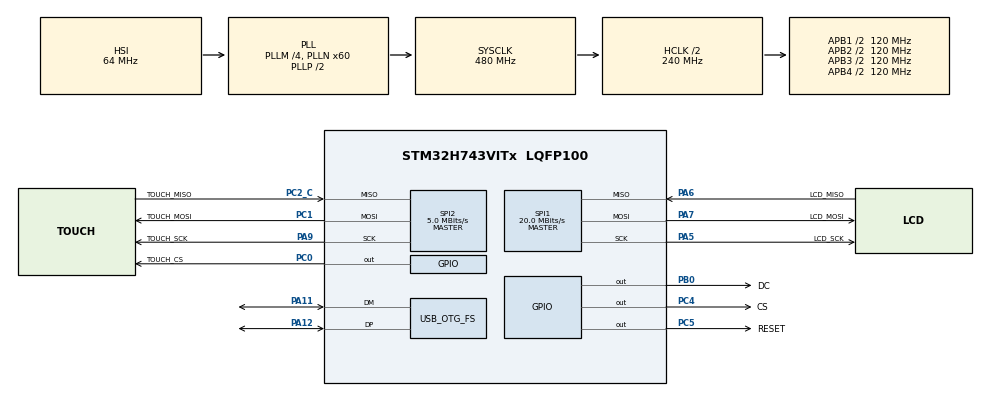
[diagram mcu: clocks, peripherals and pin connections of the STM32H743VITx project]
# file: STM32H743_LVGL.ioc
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CORTEX_M7.default_mode_Activation=1
Dma.Request0=SPI1_TX
Dma.SPI1_TX.0.Direction=DMA_MEMORY_TO_PERIPH
Dma.SPI1_TX.0.EventEnable=DISABLE
Dma.SPI1_TX.0.FIFOMode=DMA_FIFOMODE_DISABLE
Dma.SPI1_TX.0.Instance=DMA1_Stream2
Dma.SPI1_TX.0.MemDataAlignment=DMA_MDATAALIGN_BYTE
Dma.SPI1_TX.0.MemInc=DMA_MINC_ENABLE
Dma.SPI1_TX.0.Mode=DMA_NORMAL
Dma.SPI1_TX.0.PeriphDataAlignment=DMA_PDATAALIGN_BYTE
Dma.SPI1_TX.0.PeriphInc=DMA_PINC_DISABLE
Dma.SPI1_TX.0.Polarity=HAL_DMAMUX_REQ_GEN_RISING
Dma.SPI1_TX.0.Priority=DMA_PRIORITY_LOW
Dma.SPI1_TX.0.RequestNumber=1
Dma.SPI1_TX.0.SignalID=NONE
Dma.SPI1_TX.0.SyncEnable=DISABLE
Dma.SPI1_TX.0.SyncPolarity=HAL_DMAMUX_SYNC_NO_EVENT
Dma.SPI1_TX.0.SyncRequestNumber=1
Dma.SPI1_TX.0.SyncSignalID=NONE
Mcu.Family=STM32H7
Mcu.Name=STM32H743VITx
Mcu.Package=LQFP100
NVIC.DMA1_Stream2_IRQn=true\:0\:0\:false\:false\:true\:false\:true\:true
NVIC.OTG_FS_IRQn=true\:0\:0\:false\:false\:true\:false\:true\:true
NVIC.PriorityGroup=NVIC_PRIORITYGROUP_4
NVIC.SPI1_IRQn=true\:0\:0\:false\:false\:true\:false\:true\:true
PA11.Mode=Device_Only
PA11.Signal=USB_OTG_FS_DM
PA12.Mode=Device_Only
PA12.Signal=USB_OTG_FS_DP
PA5.GPIO_Label=LCD_SCK
PA5.Mode=Full_Duplex_Master
PA5.Signal=SPI1_SCK
PA6.GPIO_Label=LCD_MISO
PA6.Mode=Full_Duplex_Master
PA6.Signal=SPI1_MISO
PA7.GPIO_Label=LCD_MOSI
PA7.Mode=Full_Duplex_Master
PA7.Signal=SPI1_MOSI
PA9.GPIO_Label=TOUCH_SCK
PA9.Mode=Full_Duplex_Master
PA9.Signal=SPI2_SCK
PB0.GPIO_Label=DC
PB0.Signal=GPIO_Output
PC0.GPIO_Label=TOUCH_CS
PC0.Signal=GPIO_Output
PC1.GPIO_Label=TOUCH_MOSI
PC1.Mode=Full_Duplex_Master
PC1.Signal=SPI2_MOSI
PC2_C.GPIO_Label=TOUCH_MISO
PC2_C.Mode=Full_Duplex_Master
PC2_C.Signal=SPI2_MISO
PC4.GPIO_Label=CS
PC4.Signal=GPIO_Output
PC5.GPIO_Label=RESET
PC5.Signal=GPIO_Output
PH0-OSC_IN\ (PH0).Mode=HSE-External-Oscillator
PH0-OSC_IN\ (PH0).Signal=RCC_OSC_IN
PH1-OSC_OUT\ (PH1).Mode=HSE-External-Oscillator
PH1-OSC_OUT\ (PH1).Signal=RCC_OSC_OUT
ProjectManager.HeapSize=0x200
ProjectManager.StackSize=0x400
ProjectManager.TargetToolchain=STM32CubeIDE
RCC.ADCCLockSelection=RCC_ADCCLKSOURCE_CLKP
RCC.ADCFreq_Value=64000000
RCC.APB1Freq_Value=120000000
RCC.APB2Freq_Value=120000000
RCC.APB3Freq_Value=120000000
RCC.APB4Freq_Value=120000000
RCC.CortexFreq_Value=480000000
RCC.D1PPRE=RCC_APB3_DIV2
RCC.D2PPRE1=RCC_APB1_DIV2
RCC.D2PPRE2=RCC_APB2_DIV2
RCC.D3PPRE=RCC_APB4_DIV2
RCC.DIVM1=4
RCC.DIVM2=4
RCC.DIVN1=60
RCC.DIVN2=10
RCC.DIVP2=1
RCC.HCLKFreq_Value=240000000
RCC.HPRE=RCC_HCLK_DIV2
RCC.PLL2FRACN=0
RCC.PLL3FRACN=0
RCC.PLLFRACN=0
RCC.SPI123CLockSelection=RCC_SPI123CLKSOURCE_PLL2
RCC.SYSCLKFreq_VALUE=480000000
RCC.SYSCLKSource=RCC_SYSCLKSOURCE_PLLCLK
RCC.USBCLockSelection=RCC_USBCLKSOURCE_HSI48
RCC.USBFreq_Value=48000000
SPI1.BaudRatePrescaler=SPI_BAUDRATEPRESCALER_8
SPI1.CalculateBaudRate=20.0 MBits/s
SPI1.DataSize=SPI_DATASIZE_8BIT
SPI1.Direction=SPI_DIRECTION_2LINES
SPI1.Mode=SPI_MODE_MASTER
SPI1.VirtualType=VM_MASTER
SPI2.BaudRatePrescaler=SPI_BAUDRATEPRESCALER_32
SPI2.CalculateBaudRate=5.0 MBits/s
SPI2.DataSize=SPI_DATASIZE_8BIT
SPI2.Direction=SPI_DIRECTION_2LINES
SPI2.Mode=SPI_MODE_MASTER
SPI2.VirtualType=VM_MASTER
USB_DEVICE.CLASS_NAME_FS=CDC
USB_DEVICE.VirtualMode-CDC_FS=Cdc
USB_DEVICE.VirtualModeFS=Cdc_FS
USB_OTG_FS.VirtualMode=Device_Only
VP_MEMORYMAP_VS_MEMORYMAP.Mode=CurAppReg
VP_USB_DEVICE_VS_USB_DEVICE_CDC_FS.Mode=CDC_FS
board=custom

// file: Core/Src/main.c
/* USER CODE BEGIN Header */
/**
  ******************************************************************************
  * @file           : main.c
  * @brief          : Main program body
  ******************************************************************************
  * @attention
  *
  * Copyright (c) 2024 STMicroelectronics.
  * All rights reserved.
  *
  * This software is licensed under terms that can be found in the LICENSE file
  * in the root directory of this software component.
  * If no LICENSE file comes with this software, it is provided AS-IS.
  *
  ******************************************************************************
  */
/* USER CODE END Header */
#include "main.h"
#include "usb_device.h"

/* USER CODE BEGIN Includes */
#include "lvgl.h"
#include "LCDController.h"
#include "string.h"
#include "ui.h"
/* USER CODE END Includes */

SPI_HandleTypeDef hspi1;
SPI_HandleTypeDef hspi2;
DMA_HandleTypeDef hdma_spi1_tx;

void SystemClock_Config(void);
void PeriphCommonClock_Config(void);
static void MPU_Config(void);
static void MX_GPIO_Init(void);
static void MX_DMA_Init(void);
static void MX_SPI1_Init(void);
static void MX_SPI2_Init(void);
/* USER CODE BEGIN PFP */
uint8_t Raw_VCP_Data[64];
uint8_t Vcp_Data_Available;
char Elek[]="000V/00A";
char Power[]="0000W";
char Temp[]="00C";
uint16_t Data_recv[4];
/* USER CODE END PFP */

int main(void)
{

  /* MPU Configuration--------------------------------------------------------*/
  MPU_Config();

  /* MCU Configuration--------------------------------------------------------*/

  /* Reset of all peripherals, Initializes the Flash interface and the Systick. */
  HAL_Init();

  /* Configure the system clock */
  SystemClock_Config();

  /* Configure the peripherals common clocks */
  PeriphCommonClock_Config();

  /* Initialize all configured peripherals */
  MX_GPIO_Init();
  MX_DMA_Init();
  MX_SPI1_Init();
  MX_SPI2_Init();
  MX_USB_DEVICE_Init();
  /* USER CODE BEGIN 2 */
  lv_init(); //Initialise LVGL UI library
  lv_port_disp_init();  // intializse the display drivers
  lv_port_indev_init();
  ui_init();
  CDC_Transmit_FS("UART_STARTED", strlen("UART_STARTED"));
  /* USER CODE END 2 */

  /* Infinite loop */
  while (1)
  {

    /* USER CODE BEGIN 3 */
	  lv_timer_handler();
	  HAL_Delay(5);
  }
  /* USER CODE END 3 */
}

void SystemClock_Config(void)
{
  RCC_OscInitTypeDef RCC_OscInitStruct = {0};
  RCC_ClkInitTypeDef RCC_ClkInitStruct = {0};

  /** Supply configuration update enable
  */
  HAL_PWREx_ConfigSupply(PWR_LDO_SUPPLY);

  /** Configure the main internal regulator output voltage
  */
  __HAL_PWR_VOLTAGESCALING_CONFIG(PWR_REGULATOR_VOLTAGE_SCALE1);

  while(!__HAL_PWR_GET_FLAG(PWR_FLAG_VOSRDY)) {}

  __HAL_RCC_SYSCFG_CLK_ENABLE();
  __HAL_PWR_VOLTAGESCALING_CONFIG(PWR_REGULATOR_VOLTAGE_SCALE0);

  while(!__HAL_PWR_GET_FLAG(PWR_FLAG_VOSRDY)) {}

  /** Initializes the RCC Oscillators according to the specified parameters
  * in the RCC_OscInitTypeDef structure.
  */
  RCC_OscInitStruct.OscillatorType = RCC_OSCILLATORTYPE_HSI48|RCC_OSCILLATORTYPE_HSI;
  RCC_OscInitStruct.HSIState = RCC_HSI_DIV1;
  RCC_OscInitStruct.HSICalibrationValue = RCC_HSICALIBRATION_DEFAULT;
  RCC_OscInitStruct.HSI48State = RCC_HSI48_ON;
  RCC_OscInitStruct.PLL.PLLState = RCC_PLL_ON;
  RCC_OscInitStruct.PLL.PLLSource = RCC_PLLSOURCE_HSI;
  RCC_OscInitStruct.PLL.PLLM = 4;
  RCC_OscInitStruct.PLL.PLLN = 60;
  RCC_OscInitStruct.PLL.PLLP = 2;
  RCC_OscInitStruct.PLL.PLLQ = 2;
  RCC_OscInitStruct.PLL.PLLR = 2;
  RCC_OscInitStruct.PLL.PLLRGE = RCC_PLL1VCIRANGE_3;
  RCC_OscInitStruct.PLL.PLLVCOSEL = RCC_PLL1VCOWIDE;
  RCC_OscInitStruct.PLL.PLLFRACN = 0;
  if (HAL_RCC_OscConfig(&RCC_OscInitStruct) != HAL_OK)
  {
    Error_Handler();
  }

  /** Initializes the CPU, AHB and APB buses clocks
  */
  RCC_ClkInitStruct.ClockType = RCC_CLOCKTYPE_HCLK|RCC_CLOCKTYPE_SYSCLK
                              |RCC_CLOCKTYPE_PCLK1|RCC_CLOCKTYPE_PCLK2
                              |RCC_CLOCKTYPE_D3PCLK1|RCC_CLOCKTYPE_D1PCLK1;
  RCC_ClkInitStruct.SYSCLKSource = RCC_SYSCLKSOURCE_PLLCLK;
  RCC_ClkInitStruct.SYSCLKDivider = RCC_SYSCLK_DIV1;
  RCC_ClkInitStruct.AHBCLKDivider = RCC_HCLK_DIV2;
  RCC_ClkInitStruct.APB3CLKDivider = RCC_APB3_DIV2;
  RCC_ClkInitStruct.APB1CLKDivider = RCC_APB1_DIV2;
  RCC_ClkInitStruct.APB2CLKDivider = RCC_APB2_DIV2;
  RCC_ClkInitStruct.APB4CLKDivider = RCC_APB4_DIV2;

  if (HAL_RCC_ClockConfig(&RCC_ClkInitStruct, FLASH_LATENCY_4) != HAL_OK)
  {
    Error_Handler();
  }
}

void PeriphCommonClock_Config(void)
{
  RCC_PeriphCLKInitTypeDef PeriphClkInitStruct = {0};

  /** Initializes the peripherals clock
  */
  PeriphClkInitStruct.PeriphClockSelection = RCC_PERIPHCLK_SPI2|RCC_PERIPHCLK_SPI1;
  PeriphClkInitStruct.PLL2.PLL2M = 4;
  PeriphClkInitStruct.PLL2.PLL2N = 10;
  PeriphClkInitStruct.PLL2.PLL2P = 1;
  PeriphClkInitStruct.PLL2.PLL2Q = 2;
  PeriphClkInitStruct.PLL2.PLL2R = 2;
  PeriphClkInitStruct.PLL2.PLL2RGE = RCC_PLL2VCIRANGE_3;
  PeriphClkInitStruct.PLL2.PLL2VCOSEL = RCC_PLL2VCOMEDIUM;
  PeriphClkInitStruct.PLL2.PLL2FRACN = 0;
  PeriphClkInitStruct.Spi123ClockSelection = RCC_SPI123CLKSOURCE_PLL2;
  if (HAL_RCCEx_PeriphCLKConfig(&PeriphClkInitStruct) != HAL_OK)
  {
    Error_Handler();
  }
}

static void MX_SPI1_Init(void)
{

  /* SPI1 parameter configuration*/
  hspi1.Instance = SPI1;
  hspi1.Init.Mode = SPI_MODE_MASTER;
  hspi1.Init.Direction = SPI_DIRECTION_2LINES;
  hspi1.Init.DataSize = SPI_DATASIZE_8BIT;
  hspi1.Init.CLKPolarity = SPI_POLARITY_LOW;
  hspi1.Init.CLKPhase = SPI_PHASE_1EDGE;
  hspi1.Init.NSS = SPI_NSS_SOFT;
  hspi1.Init.BaudRatePrescaler = SPI_BAUDRATEPRESCALER_8;
  hspi1.Init.FirstBit = SPI_FIRSTBIT_MSB;
  hspi1.Init.TIMode = SPI_TIMODE_DISABLE;
  hspi1.Init.CRCCalculation = SPI_CRCCALCULATION_DISABLE;
  hspi1.Init.CRCPolynomial = 0x0;
  hspi1.Init.NSSPMode = SPI_NSS_PULSE_ENABLE;
  hspi1.Init.NSSPolarity = SPI_NSS_POLARITY_LOW;
  hspi1.Init.FifoThreshold = SPI_FIFO_THRESHOLD_01DATA;
  hspi1.Init.TxCRCInitializationPattern = SPI_CRC_INITIALIZATION_ALL_ZERO_PATTERN;
  hspi1.Init.RxCRCInitializationPattern = SPI_CRC_INITIALIZATION_ALL_ZERO_PATTERN;
  hspi1.Init.MasterSSIdleness = SPI_MASTER_SS_IDLENESS_00CYCLE;
  hspi1.Init.MasterInterDataIdleness = SPI_MASTER_INTERDATA_IDLENESS_00CYCLE;
  hspi1.Init.MasterReceiverAutoSusp = SPI_MASTER_RX_AUTOSUSP_DISABLE;
  hspi1.Init.MasterKeepIOState = SPI_MASTER_KEEP_IO_STATE_DISABLE;
  hspi1.Init.IOSwap = SPI_IO_SWAP_DISABLE;
  if (HAL_SPI_Init(&hspi1) != HAL_OK)
  {
    Error_Handler();
  }

}

static void MX_SPI2_Init(void)
{

  /* SPI2 parameter configuration*/
  hspi2.Instance = SPI2;
  hspi2.Init.Mode = SPI_MODE_MASTER;
  hspi2.Init.Direction = SPI_DIRECTION_2LINES;
  hspi2.Init.DataSize = SPI_DATASIZE_8BIT;
  hspi2.Init.CLKPolarity = SPI_POLARITY_LOW;
  hspi2.Init.CLKPhase = SPI_PHASE_1EDGE;
  hspi2.Init.NSS = SPI_NSS_SOFT;
  hspi2.Init.BaudRatePrescaler = SPI_BAUDRATEPRESCALER_32;
  hspi2.Init.FirstBit = SPI_FIRSTBIT_MSB;
  hspi2.Init.TIMode = SPI_TIMODE_DISABLE;
  hspi2.Init.CRCCalculation = SPI_CRCCALCULATION_DISABLE;
  hspi2.Init.CRCPolynomial = 0x0;
  hspi2.Init.NSSPMode = SPI_NSS_PULSE_ENABLE;
  hspi2.Init.NSSPolarity = SPI_NSS_POLARITY_LOW;
  hspi2.Init.FifoThreshold = SPI_FIFO_THRESHOLD_01DATA;
  hspi2.Init.TxCRCInitializationPattern = SPI_CRC_INITIALIZATION_ALL_ZERO_PATTERN;
  hspi2.Init.RxCRCInitializationPattern = SPI_CRC_INITIALIZATION_ALL_ZERO_PATTERN;
  hspi2.Init.MasterSSIdleness = SPI_MASTER_SS_IDLENESS_00CYCLE;
  hspi2.Init.MasterInterDataIdleness = SPI_MASTER_INTERDATA_IDLENESS_00CYCLE;
  hspi2.Init.MasterReceiverAutoSusp = SPI_MASTER_RX_AUTOSUSP_DISABLE;
  hspi2.Init.MasterKeepIOState = SPI_MASTER_KEEP_IO_STATE_DISABLE;
  hspi2.Init.IOSwap = SPI_IO_SWAP_DISABLE;
  if (HAL_SPI_Init(&hspi2) != HAL_OK)
  {
    Error_Handler();
  }

}

static void MX_DMA_Init(void)
{

  /* DMA controller clock enable */
  __HAL_RCC_DMA1_CLK_ENABLE();

  /* DMA interrupt init */
  /* DMA1_Stream2_IRQn interrupt configuration */
  HAL_NVIC_SetPriority(DMA1_Stream2_IRQn, 0, 0);
  HAL_NVIC_EnableIRQ(DMA1_Stream2_IRQn);

}

static void MX_GPIO_Init(void)
{
  GPIO_InitTypeDef GPIO_InitStruct = {0};

  /* GPIO Ports Clock Enable */
  __HAL_RCC_GPIOH_CLK_ENABLE();
  __HAL_RCC_GPIOC_CLK_ENABLE();
  __HAL_RCC_GPIOA_CLK_ENABLE();
  __HAL_RCC_GPIOB_CLK_ENABLE();

  /*Configure GPIO pin Output Level */
  HAL_GPIO_WritePin(GPIOC, TOUCH_CS_Pin|CS_Pin|RESET_Pin, GPIO_PIN_RESET);

  /*Configure GPIO pin Output Level */
  HAL_GPIO_WritePin(DC_GPIO_Port, DC_Pin, GPIO_PIN_RESET);

  /*Configure GPIO pins : TOUCH_CS_Pin CS_Pin RESET_Pin */
  GPIO_InitStruct.Pin = TOUCH_CS_Pin|CS_Pin|RESET_Pin;
  GPIO_InitStruct.Mode = GPIO_MODE_OUTPUT_PP;
  GPIO_InitStruct.Pull = GPIO_NOPULL;
  GPIO_InitStruct.Speed = GPIO_SPEED_FREQ_LOW;
  HAL_GPIO_Init(GPIOC, &GPIO_InitStruct);

  /*Configure GPIO pin : DC_Pin */
  GPIO_InitStruct.Pin = DC_Pin;
  GPIO_InitStruct.Mode = GPIO_MODE_OUTPUT_PP;
  GPIO_InitStruct.Pull = GPIO_NOPULL;
  GPIO_InitStruct.Speed = GPIO_SPEED_FREQ_LOW;
  HAL_GPIO_Init(DC_GPIO_Port, &GPIO_InitStruct);

}

 /* MPU Configuration */

void MPU_Config(void)
{
  MPU_Region_InitTypeDef MPU_InitStruct = {0};

  /* Disables the MPU */
  HAL_MPU_Disable();

  /** Initializes and configures the Region and the memory to be protected
  */
  MPU_InitStruct.Enable = MPU_REGION_ENABLE;
  MPU_InitStruct.Number = MPU_REGION_NUMBER0;
  MPU_InitStruct.BaseAddress = 0x0;
  MPU_InitStruct.Size = MPU_REGION_SIZE_4GB;
  MPU_InitStruct.SubRegionDisable = 0x87;
  MPU_InitStruct.TypeExtField = MPU_TEX_LEVEL0;
  MPU_InitStruct.AccessPermission = MPU_REGION_NO_ACCESS;
  MPU_InitStruct.DisableExec = MPU_INSTRUCTION_ACCESS_DISABLE;
  MPU_InitStruct.IsShareable = MPU_ACCESS_SHAREABLE;
  MPU_InitStruct.IsCacheable = MPU_ACCESS_NOT_CACHEABLE;
  MPU_InitStruct.IsBufferable = MPU_ACCESS_NOT_BUFFERABLE;

  HAL_MPU_ConfigRegion(&MPU_InitStruct);
  /* Enables the MPU */
  HAL_MPU_Enable(MPU_PRIVILEGED_DEFAULT);

}

void Error_Handler(void)
{
  __disable_irq();
  while (1)
  {
  }
}
